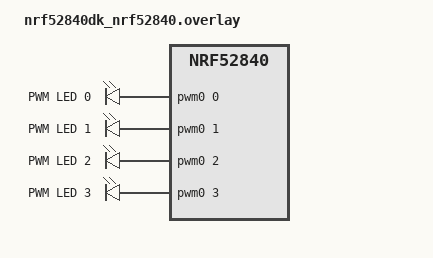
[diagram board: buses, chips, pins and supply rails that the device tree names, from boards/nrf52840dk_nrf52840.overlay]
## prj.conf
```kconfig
# Copyright (c) 2021 Nordic Semiconductor ASA
# SPDX-License-Identifier: Apache-2.0
#
# This file contains selected Kconfig options for the application.

CONFIG_GPIO=y
CONFIG_PWM=y
CONFIG_SMF=yg
```

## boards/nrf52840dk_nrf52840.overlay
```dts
/ {
    pwmleds {
        compatible = "pwm-leds";
        pwm_led0: pwm_led_0 {
            pwms = <&pwm0 0 PWM_MSEC(20) PWM_POLARITY_NORMAL>;
            label = "PWM LED 0";
        };
        pwm_led1: pwm_led_1 {
            pwms = <&pwm0 1 PWM_MSEC(20) PWM_POLARITY_NORMAL>;
            label = "PWM LED 1";
        };
        pwm_led2: pwm_led_2 {
            pwms = <&pwm0 2 PWM_MSEC(20) PWM_POLARITY_NORMAL>;
            label = "PWM LED 2";
        };
        pwm_led3: pwm_led_3 {
            pwms = <&pwm0 3 PWM_MSEC(20) PWM_POLARITY_NORMAL>;
            label = "PWM LED 3";
        };
    };

    aliases {
        pwm-led0 = &pwm_led0;
        pwm-led1 = &pwm_led1;
        pwm-led2 = &pwm_led2;
        pwm-led3 = &pwm_led3;
    };
};

&pinctrl { 
    pwm0_default: pwm0_default {
		group1 {
			psels = 
                <NRF_PSEL(PWM_OUT0, 0, 13)>, 
                <NRF_PSEL(PWM_OUT1, 0, 14)>, 
                <NRF_PSEL(PWM_OUT2, 0, 15)>, 
                <NRF_PSEL(PWM_OUT3, 0, 16)>;
			nordic,invert;
		};
	};

    pwm0_sleep: pwm0_sleep {
		group1 {
			psels = 
                <NRF_PSEL(PWM_OUT0, 0, 13)>, 
                <NRF_PSEL(PWM_OUT1, 0, 14)>, 
                <NRF_PSEL(PWM_OUT2, 0, 15)>, 
                <NRF_PSEL(PWM_OUT3, 0, 16)>;
			low-power-enable;
		};
	};
};
```

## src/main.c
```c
/*
 * main.c
 */

#include <inttypes.h>

#include <zephyr/kernel.h>
#include <zephyr/sys/printk.h>

#include "BTN.h"
#include "LED.h"

#define SLEEP_MS 1

int main(void) {
    if (0 > BTN_init()) {
        return 0;
    }

    if (0 > LED_init()) {
        return 0;
    }
    
    uint8_t current_duty_cycle = 0;

    LED_pwm(LED0, current_duty_cycle);

    while (1) {
        if (BTN_check_clear_pressed(BTN0)) {
            current_duty_cycle = (current_duty_cycle >= 100) ? 0 : (current_duty_cycle + 10);
            printk("Setting LED0 to %d%% brightness.\n", current_duty_cycle);
            LED_pwm(LED0, current_duty_cycle);
        }
        k_msleep(SLEEP_MS);
    }
    return 0;
}
```

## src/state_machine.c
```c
// HEADERS

#include <zephyr/smf.h>

#include "LED.h"
#include "BTN.h"
#include "state_machine.h"
#include <stdbool.h>

#include <zephyr/kernel.h>
#include <zephyr/sys/printk.h>

#define STANDBY_HOLD_TIME_MS 3000
#define PULSAR_MAX 1000


// TYPEDEFS

typedef enum {
    INPUT_STATE,
    MENU_STATE,
    SAVED_STATE,
    STANDBY
} project_machine_states;

typedef struct {
    // context
    struct smf_ctx ctx;

    uint16_t count;
    bool status_led_state;

    uint16_t standby_count;
    uint16_t pulsar;
    bool pulsar_reversal_state;
    project_machine_states last_state;

    uint8_t buffer;
    int buffer_index;

    char ascii_string[64];
    uint8_t string_index;
} state_object_t;


// FUNCTION PROTOTYPES

static void input_state_entry(void* o);
static enum smf_state_result input_state_run(void* o);

static void menu_state_entry(void* o);
static enum smf_state_result menu_state_run(void* o);

static void saved_state_entry(void* o);
static enum smf_state_result saved_state_run(void* o);

static void standby_entry(void* o);
static enum smf_state_result standby_run(void* o);

static void handle_standby_btn_press(project_machine_states current_state);
static void fresh_state_entry();
static void blink_led(int frequency_hz);


// LOCAL VARIABLES

static const struct smf_state project_states[] = {
    [INPUT_STATE] = SMF_CREATE_STATE(input_state_entry, input_state_run, NULL, NULL, NULL),
    [MENU_STATE] = SMF_CREATE_STATE(menu_state_entry, menu_state_run, NULL, NULL, NULL),
    [SAVED_STATE] = SMF_CREATE_STATE(saved_state_entry, saved_state_run, NULL, NULL, NULL),
    [STANDBY] = SMF_CREATE_STATE(standby_entry, standby_run, NULL, NULL, NULL),
};

static state_object_t state_object;


// FUNCTIONS

static void blink_led(int frequency_hz) {
    int count = 1000 / (frequency_hz * 2);
    if (state_object.count > count) {
        state_object.count = 0;
        state_object.status_led_state = !state_object.status_led_state;
        LED_set(LED3, state_object.status_led_state ? LED_ON : LED_OFF);
    } else {
        state_object.count++;
    }
}

void state_machine_init() {
    state_object.count = 0;
    state_object.status_led_state = false;
    state_object.pulsar = 0;
    state_object.pulsar_reversal_state = false;
    state_object.standby_count = 0;

    smf_set_initial(SMF_CTX(&state_object), &project_states[INPUT_STATE]);
}

int state_machine_run() {
    return smf_run_state(SMF_CTX(&state_object));
}

static void fresh_state_entry() {
    state_object.count = 0;
    state_object.status_led_state = false;
    state_object.pulsar = 0;
    state_object.pulsar_reversal_state = false;
    state_object.standby_count = 0;

    LED_set(LED0, LED_OFF);
    LED_set(LED1, LED_OFF);
    LED_set(LED2, LED_OFF);
    LED_set(LED3, LED_OFF);
}

static void input_state_entry(void* o) {
    printk("Entering Input State - LED at 1Hz\n");
    fresh_state_entry();
}

static enum smf_state_result input_state_run(void* o) {
    LED_set(LED0, LED_OFF);
    LED_set(LED1, LED_OFF);
    blink_led(1);

    // reflect button states on LEDs
    LED_set(LED0, BTN_is_pressed(BTN0) ? LED_ON : LED_OFF);
    LED_set(LED1, BTN_is_pressed(BTN1) ? LED_ON : LED_OFF);

    int index = state_object.buffer_index;
    if (BTN_check_clear_pressed(BTN0)) {
        // set bit at index position to 0
        state_object.buffer &= ~(1u << (7 - index));
        state_object.buffer_index = index + 1;
        printk("User entered 0 - Buffer ASCII value: %u\n", state_object.buffer);

    } else if (BTN_check_clear_pressed(BTN1)) {
        // set bit at index position to 1
        state_object.buffer |= (1u << (7 - index));
        state_object.buffer_index = index + 1;
        printk("User entered 1 - Buffer ASCII value: %u\n", state_object.buffer);

    } else if (BTN_check_clear_pressed(BTN2)) {
        // reset buffer and index
        state_object.buffer = 0;
        index = 0;
        printk("Buffer cleared.\n");

    } else if (BTN_check_clear_pressed(BTN3)) {
        // save code as is
        index = 8;
    }

    if (index >= 8) {
        index = 0;
        state_object.buffer_index = 0;
        // convert buffer to ASCII character
        char ascii_char = (char) (state_object.buffer);
        state_object.ascii_string[state_object.string_index] = ascii_char;
        state_object.string_index++;
        state_object.ascii_string[state_object.string_index] = '\0';
        printk("Saved character: %c, Current string: %s\n", ascii_char, state_object.ascii_string);
        state_object.buffer = 0;
        smf_set_state(SMF_CTX(&state_object), &project_states[MENU_STATE]);
        return SMF_EVENT_HANDLED;
    }

    handle_standby_btn_press(INPUT_STATE);

    return SMF_EVENT_HANDLED;
}

static void menu_state_entry(void* o) {
    printk("Entering Menu State - LED at 4Hz\n");
    fresh_state_entry();
}

static enum smf_state_result menu_state_run(void* o) {
    blink_led(4);

    // if BTN0 or BTN1 pressed, go back to input state
    // the button that is pressed will be reflected in the input state
    // unless somehow they press and release in <1ms
    if (BTN_check_pressed(BTN0) || BTN_check_pressed(BTN1)) {
        smf_set_state(SMF_CTX(&state_object), &project_states[INPUT_STATE]);
        return SMF_EVENT_HANDLED;
    }

    if (BTN_check_clear_pressed(BTN2)) {
        state_object.string_index = 0;
        state_object.ascii_string[0] = '\0';
        printk("Cleared saved string.\n");
        smf_set_state(SMF_CTX(&state_object), &project_states[INPUT_STATE]);
        return SMF_EVENT_HANDLED;
    }

    if (BTN_check_clear_pressed(BTN3)) {
        printk("Saved string: %s\n", state_object.ascii_string);
        smf_set_state(SMF_CTX(&state_object), &project_states[SAVED_STATE]);
        return SMF_EVENT_HANDLED;
    }

    handle_standby_btn_press(MENU_STATE);

    return SMF_EVENT_HANDLED;
}

static void saved_state_entry(void* o) {
    printk("Entering Saved String State - LED at 16Hz\n");
    fresh_state_entry();
}

static enum smf_state_result saved_state_run(void* o) {
    blink_led(16);

    if (BTN_check_clear_pressed(BTN2)) {
        state_object.string_index = 0;
        state_object.ascii_string[0] = '\0';
        printk("Cleared saved string.\n");
        smf_set_state(SMF_CTX(&state_object), &project_states[INPUT_STATE]);
        return SMF_EVENT_HANDLED;
    }

    if (BTN_check_clear_pressed(BTN3)) {
        printk("Saved string: %s\n", state_object.ascii_string);
        return SMF_EVENT_HANDLED;
    }

    handle_standby_btn_press(SAVED_STATE);

    return SMF_EVENT_HANDLED;
}

static void handle_standby_btn_press(project_machine_states current_state) {
    if (BTN_is_pressed(BTN0) && BTN_is_pressed(BTN1)) {
        if (state_object.standby_count >= STANDBY_HOLD_TIME_MS) {
            state_object.standby_count = 0;
            state_object.last_state = current_state;
            smf_set_state(SMF_CTX(&state_object), &project_states[STANDBY]);
        } else {
            state_object.standby_count++;
        }
    } else {
        state_object.standby_count = 0;
    }
}

static void standby_entry(void* o) {
    printk("Entering Standby State - LED PULSE\n");
    fresh_state_entry();

    state_object.buffer = 0;
    state_object.buffer_index = 0;

    // reset button press state so we don't immediately exit standby
    BTN_check_clear_pressed(BTN0);
    BTN_check_clear_pressed(BTN1);
}

static enum smf_state_result standby_run(void* o) {
    if (state_object.pulsar >= PULSAR_MAX) {
        state_object.pulsar_reversal_state = true;
    } else if (state_object.pulsar == 0) {
        state_object.pulsar_reversal_state = false;
    }

    if (state_object.pulsar_reversal_state) {
        state_object.pulsar--;
    } else {
        state_object.pulsar++;
    }

    int brightness = (state_object.pulsar * 100 / PULSAR_MAX);

    LED_pwm(LED0, brightness);
    LED_pwm(LED1, brightness);
    LED_pwm(LED2, brightness);
    LED_pwm(LED3, brightness);

    if (BTN_check_clear_pressed(BTN0) || BTN_check_clear_pressed(BTN1) || BTN_check_clear_pressed(BTN2) || BTN_check_clear_pressed(BTN3)) {
        smf_set_state(SMF_CTX(&state_object), &project_states[state_object.last_state]);
    }

    return SMF_EVENT_HANDLED;
}

// static void led_on_state_entry(void* o) {
//     LED_set(LED3, LED_ON);
// }

// static enum smf_state_result led_on_state_run(void* o) {
//     if (led_state_object.count > 500) {
//         led_state_object.count = 0;
//         smf_set_state(SMF_CTX(&led_state_object), &led_states[LED_OFF_STATE]);
//     } else {
//         led_state_object.count++;
//     }

//     return SMF_EVENT_HANDLED;
// }

// static void led_off_state_entry(void* o) {
//     LED_set(LED3, LED_OFF);
// }

// static enum smf_state_result led_off_state_run(void* o) {
//     if (led_state_object.count > 500) {
//         led_state_object.count = 0;
//         smf_set_state(SMF_CTX(&led_state_object), &led_states[LED_ON_STATE]);
//     } else {
//         led_state_object.count++;
//     }

//     return SMF_EVENT_HANDLED;
// }
```

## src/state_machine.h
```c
#ifndef STATE_MACHINE_H
#define STATE_MACHINE_H

void state_machine_init(void);

int state_machine_run(void);

#endif // STATE_MACHINE_H
```
